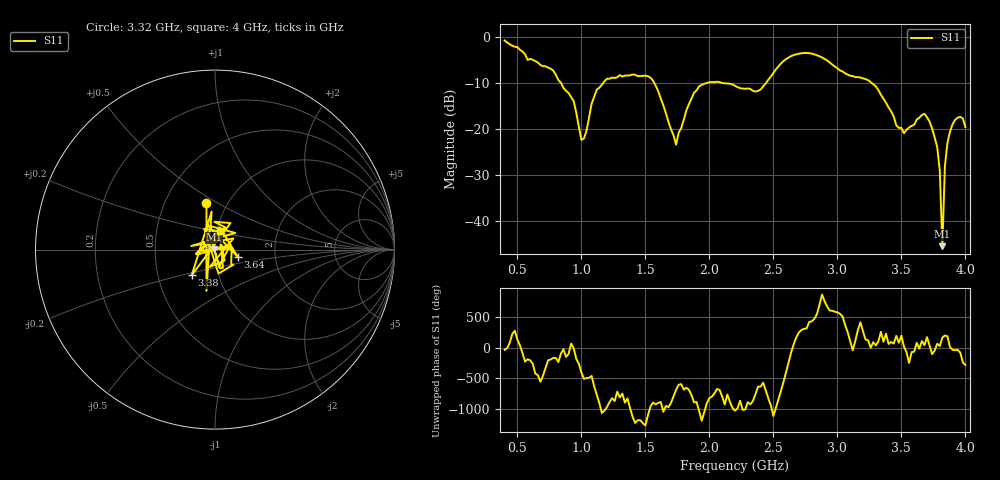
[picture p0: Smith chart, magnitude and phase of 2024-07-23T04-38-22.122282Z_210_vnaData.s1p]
!Created with skrf (http://scikit-rf.org).
# Hz S RI R 50.0
!freq ReS11 ImS11
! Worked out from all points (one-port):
!   181 points, 400 MHz to 4 GHz, reference 50 ohm
!   lowest |S11| = -45.4 dB at 3.82 GHz (marker M1), VSWR 1.01, Z = 49.5 + j0.146 ohm
!   |S11| at or under -10 dB: 1.569 GHz to 1.983 GHz (414.4 MHz wide, 23.3 % of centre); 2.099 GHz to 2.443 GHz (343.7 MHz wide, 15.1 % of centre); 3.268 GHz to end of sweep (the widest 3 of 4)
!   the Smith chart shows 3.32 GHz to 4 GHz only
!   S11 on the Smith chart (normalised r, x): 3.32 GHz: 0.80, +0.45; 3.38 GHz: 0.74, -0.22; 3.64 GHz: 1.28, -0.10; 4 GHz: 1.03, +0.21
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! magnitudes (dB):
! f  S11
! 400 MHz  -0.8
! 780 MHz  -7.3
! 860 MHz  -11.1
! 940 MHz  -14.0
! 1 GHz  -22.4
! 1.12 GHz  -11.4
! 1.3 GHz  -8.3
! 1.54 GHz  -8.8
! 1.74 GHz  -23.4
! 1.76 GHz  -20.8
! 1.92 GHz  -10.7
! 2.2 GHz  -10.6
! 2.38 GHz  -11.7
! 2.66 GHz  -3.9
! 3.1 GHz  -8.5
! 3.32 GHz  -11.5
! 3.38 GHz  -14.3
! 3.46 GHz  -19.2
! 3.56 GHz  -19.7
! 3.64 GHz  -17.6
! 3.7 GHz  -17.5
! 3.78 GHz  -24.0
! 3.8 GHz  -29.0
! 3.82 GHz  -45.4
! 3.84 GHz  -28.1
! 3.86 GHz  -22.9
! 3.92 GHz  -18.0
! 4 GHz  -19.6
